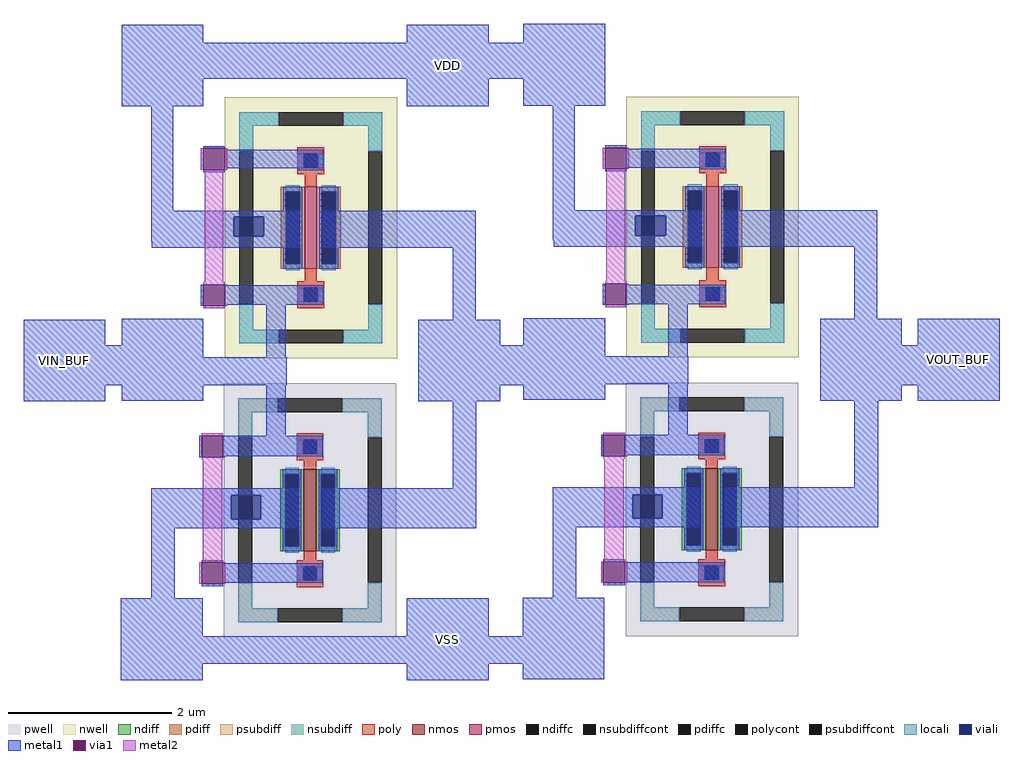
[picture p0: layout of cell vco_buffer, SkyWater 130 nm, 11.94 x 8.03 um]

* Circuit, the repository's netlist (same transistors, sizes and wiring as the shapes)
** sch_path: /home/ttuser/ttsky26a-analog-voltage-controlled-oscillator/xschem/vco_buffer.sch
.subckt vco_buffer VDD VSS VIN_BUF VOUT_BUF
*.PININFO VDD:B VSS:B VIN_BUF:I VOUT_BUF:O
x1 VDD VIN_BUF INT_BUF VSS vco_inverter
x2 VDD INT_BUF VOUT_BUF VSS vco_inverter
.ends

* expanding   symbol:  vco_inverter.sym # of pins=4
** sym_path: /home/ttuser/ttsky26a-analog-voltage-controlled-oscillator/xschem/vco_inverter.sym
** sch_path: /home/ttuser/ttsky26a-analog-voltage-controlled-oscillator/xschem/vco_inverter.sch
.subckt vco_inverter VDD VIN_INV VOUT_INV VSS
*.PININFO VDD:B VSS:B VIN_INV:I VOUT_INV:O
XM1 VOUT_INV VIN_INV VSS VSS sky130_fd_pr__nfet_01v8 L=0.15 W=1 nf=1 m=1
XM2 VOUT_INV VIN_INV VDD VDD sky130_fd_pr__pfet_01v8 L=0.15 W=1 nf=1 m=1
.ends

.end

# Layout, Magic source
magic
tech sky130A
magscale 1 2
<< metal1 >>
rect 1226 572 1426 616
rect 602 484 1638 572
rect 1226 416 1426 484
rect 288 -168 488 -106
rect 2476 -168 2676 -104
rect 288 -266 656 -168
rect 1334 -266 1654 -168
rect 2322 -266 2676 -168
rect 288 -306 488 -266
rect 2476 -304 2676 -266
rect 1226 -880 1426 -788
rect 602 -948 1642 -880
rect 1226 -988 1426 -948
use vco_inverter  x1
transform 1 0 528 0 1 96
box -2 -1084 926 520
use vco_inverter  x2
transform 1 0 1511 0 1 98
box -2 -1084 926 520
<< labels >>
flabel metal1 1226 416 1426 616 0 FreeSans 256 0 0 0 VDD
port 0 nsew
flabel metal1 1226 -988 1426 -788 0 FreeSans 256 0 0 0 VSS
port 1 nsew
flabel metal1 288 -306 488 -106 0 FreeSans 256 0 0 0 VIN_BUF
port 2 nsew
flabel metal1 2476 -304 2676 -104 0 FreeSans 256 0 0 0 VOUT_BUF
port 3 nsew
<< end >>

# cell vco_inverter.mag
magic
tech sky130A
magscale 1 2
<< viali >>
rect 274 2 348 50
rect 268 -690 340 -632
<< metal1 >>
rect 0 320 200 520
rect 72 64 126 320
rect 200 217 252 223
rect 252 168 494 214
rect 200 159 252 165
rect 72 50 436 64
rect 72 2 274 50
rect 348 2 436 50
rect 72 -10 436 2
rect 74 -26 436 -10
rect 492 -26 866 64
rect 194 -168 200 -116
rect 252 -118 258 -116
rect 252 -166 494 -118
rect 252 -168 258 -166
rect 0 -294 200 -200
rect 354 -294 402 -166
rect 810 -202 866 -26
rect 0 -362 404 -294
rect 0 -400 200 -362
rect 354 -486 402 -362
rect 726 -402 926 -202
rect 190 -538 196 -486
rect 248 -536 492 -486
rect 248 -538 254 -536
rect 810 -614 868 -402
rect 72 -632 432 -614
rect 72 -690 268 -632
rect 340 -690 432 -632
rect 72 -712 432 -690
rect 492 -712 868 -614
rect 72 -884 130 -712
rect 196 -796 248 -790
rect 248 -846 492 -798
rect 196 -854 248 -848
rect -2 -1084 198 -884
<< via1 >>
rect 200 165 252 217
rect 200 -168 252 -116
rect 196 -538 248 -486
rect 196 -848 248 -796
<< metal2 >>
rect 194 165 200 217
rect 252 165 258 217
rect 203 -110 249 165
rect 200 -116 252 -110
rect 200 -174 252 -168
rect 196 -486 248 -480
rect 196 -544 248 -538
rect 198 -796 246 -544
rect 190 -848 196 -796
rect 248 -848 254 -796
use sky130_fd_pr__nfet_01v8_648S5X  XM1
transform 1 0 461 0 1 -668
box -211 -310 211 310
use sky130_fd_pr__pfet_01v8_XGS3BL  XM2
transform 1 0 463 0 1 23
box -211 -319 211 319
<< labels >>
flabel metal1 0 -400 200 -200 0 FreeSans 256 0 0 0 VIN_INV
port 1 nsew
flabel metal1 726 -402 926 -202 0 FreeSans 256 0 0 0 VOUT_INV
port 2 nsew
flabel metal1 0 320 200 520 0 FreeSans 256 0 0 0 VDD
port 0 nsew
flabel metal1 -2 -1084 198 -884 0 FreeSans 256 0 0 0 VSS
port 3 nsew
<< end >>

# cell sky130_fd_pr__nfet_01v8_648S5X: kit device sky130_fd_pr__nfet_01v8, w 1.0 l 0.15 m 1 nf 1 diffcov 100 polycov 100 guard 1 glc 1 grc 1 gtc 1 gbc 1 tbcov 100 rlcov 100 topc 1 botc 1 poverlap 0 doverlap 1 lmin 0.15 wmin 0.42 compatible {sky130_fd_pr__nfet_01v8 sky130_fd_pr__nfet_01v8_lvt sky130_fd_bs_flash__special_sonosfet_star sky130_fd_pr__nfet_g5v0d10v5 sky130_fd_pr__nfet_05v0_nvt sky130_fd_pr__nfet_03v3_nvt} full_metal 1 viasrc 100 viadrn 100 viagate 100 viagb 0 viagr 0 viagl 0 viagt 0

# cell sky130_fd_pr__pfet_01v8_XGS3BL: kit device sky130_fd_pr__pfet_01v8, w 1.0 l 0.15 m 1 nf 1 diffcov 100 polycov 100 guard 1 glc 1 grc 1 gtc 1 gbc 1 tbcov 100 rlcov 100 topc 1 botc 1 poverlap 0 doverlap 1 lmin 0.15 wmin 0.42 compatible {sky130_fd_pr__pfet_01v8 sky130_fd_pr__pfet_01v8_lvt sky130_fd_pr__pfet_01v8_hvt sky130_fd_pr__pfet_g5v0d10v5} full_metal 1 viasrc 100 viadrn 100 viagate 100 viagb 0 viagr 0 viagl 0 viagt 0
